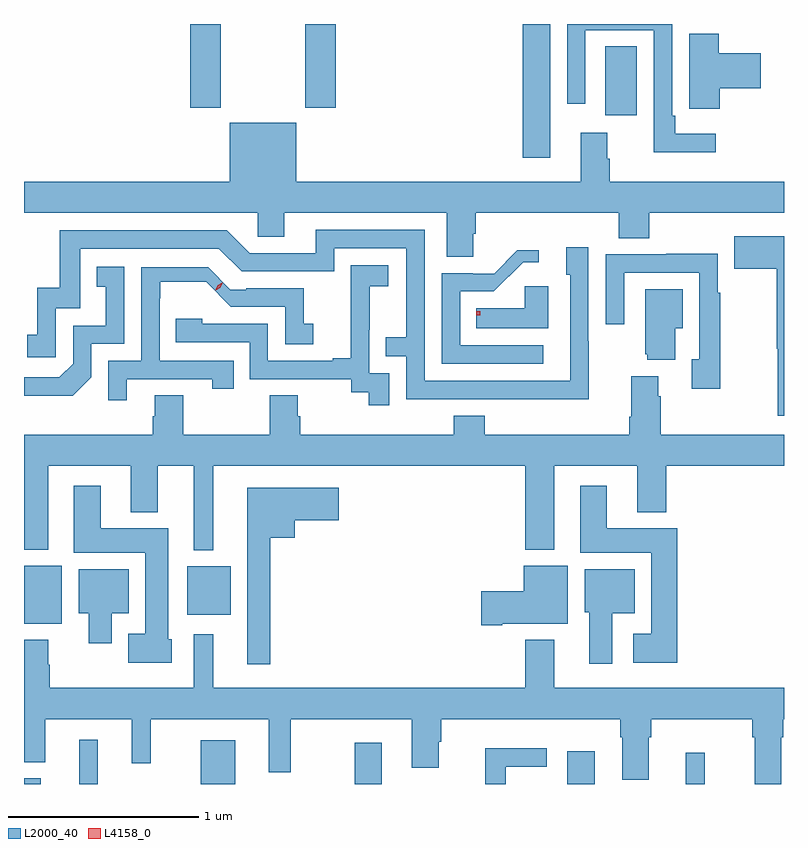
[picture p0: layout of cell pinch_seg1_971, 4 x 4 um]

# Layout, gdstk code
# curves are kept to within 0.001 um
import gdstk
lib = gdstk.Library(unit=1e-6, precision=1e-09)
def R(c, l, rs):  # rectangles x0, y0, x1, y1
    for r in rs: c.add(gdstk.rectangle(r[:2], r[2:], *l))
def P(c, l, *ps):  # polygons
    for p in ps: c.add(gdstk.Polygon(p, *l))
L2000_40 = (2000, 40)
L4158_0 = (4158, 0)

pinch_seg1_971 = lib.new_cell('pinch_seg1_971')
R(pinch_seg1_971, L2000_40, [(124.986,531.41,125.074,531.439), (125.277,531.41,125.374,531.643), (125.915,531.41,126.097,531.64), (126.727,531.41,126.868,531.628), (127.844,531.41,127.99,531.583), (128.468,531.41,128.57,531.574), (124.986,532.253,125.185,532.558), (125.846,532.301,126.073,532.555), (127.61,534.705,127.756,535.41), (128.045,534.93,128.212,535.292), (125.861,534.969,126.021,535.41), (126.466,534.969,126.626,535.41)])
P(pinch_seg1_971, L2000_40, [(128.626,534.832),(128.413,534.832),(128.413,534.928),(128.397,534.928),(128.397,535.41),(127.845,535.41),(127.845,534.99),(127.941,534.99),(127.941,535.377),(128.301,535.377),(128.301,534.734),(128.626,534.734)],
  [(128.648,535.073),(128.863,535.073),(128.863,535.256),(128.643,535.256),(128.643,535.359),(128.486,535.359),(128.486,535.075),(128.487,535.075),(128.487,534.963),(128.648,534.963)],
  [(126.068,534.889),(126.068,534.58),(124.986,534.58),(124.986,534.416),(126.216,534.416),(126.216,534.289),(126.355,534.289),(126.355,534.416),(127.211,534.416),(127.211,534.184),(127.351,534.184),(127.351,534.306),(127.364,534.306),(127.364,534.416),(128.117,534.416),(128.117,534.283),(128.277,534.283),(128.277,534.416),(128.986,534.416),(128.986,534.58),(128.069,534.58),(128.069,534.701),(128.056,534.701),(128.056,534.838),(127.916,534.838),(127.916,534.58),(126.418,534.58),(126.418,534.889)],
  [(127.959,533.741),(127.956,533.741),(127.956,534.235),(127.841,534.235),(127.841,534.09),(127.86,534.09),(127.86,533.532),(127.095,533.532),(127.095,534.327),(126.521,534.327),(126.521,534.204),(126.174,534.204),(126.054,534.324),(125.175,534.324),(125.175,534.022),(125.057,534.022),(125.057,533.775),(125.004,533.775),(125.004,533.655),(125.154,533.655),(125.154,533.913),(125.283,533.913),(125.283,534.228),(126.012,534.228),(126.132,534.108),(126.618,534.108),(126.618,534.231),(126.999,534.231),(126.999,533.762),(126.889,533.762),(126.889,533.661),(126.999,533.661),(126.999,533.436),(127.959,533.435)],
  [(128.986,534.292),(128.724,534.292),(128.724,534.123),(128.947,534.123),(128.947,533.702),(128.954,533.702),(128.954,533.349),(128.986,533.349)],
  [(127.72,533.718),(127.281,533.718),(127.281,534.003),(127.459,534.003),(127.613,534.157),(127.696,534.157),(127.696,534.22),(127.583,534.22),(127.46,534.096),(127.347,534.096),(127.347,534.099),(127.185,534.099),(127.185,533.622),(127.72,533.622)],
  [(128.65,533.995),(128.637,533.995),(128.637,534.2),(128.365,534.2),(128.365,534.198),(128.049,534.198),(128.049,533.829),(128.145,533.829),(128.145,534.102),(128.541,534.102),(128.541,533.646),(128.501,533.646),(128.501,533.49),(128.65,533.49)],
  [(126.909,533.571),(126.804,533.571),(126.804,533.801),(126.806,533.801),(126.806,534.029),(126.904,534.029),(126.904,534.139),(126.706,534.139),(126.706,533.933),(126.707,533.933),(126.707,533.65),(126.611,533.65),(126.611,533.637),(126.27,533.637),(126.27,533.832),(125.925,533.832),(125.925,533.86),(125.785,533.86),(125.785,533.736),(126.174,533.736),(126.174,533.541),(126.708,533.541),(126.708,533.473),(126.801,533.473),(126.801,533.403),(126.909,533.403)],
  [(125.34,533.55),(125.34,533.727),(125.514,533.727),(125.514,534.133),(125.368,534.133),(125.368,534.027),(125.417,534.027),(125.417,533.823),(125.244,533.823),(125.244,533.622),(125.172,533.55),(124.986,533.55),(124.986,533.453),(125.242,533.453)],
  [(125.527,533.541),(125.978,533.541),(125.978,533.49),(126.089,533.49),(126.089,533.637),(125.7,533.637),(125.7,533.966),(125.703,533.966),(125.703,534.053),(125.944,534.053),(126.074,533.922),(126.36,533.922),(126.36,533.724),(126.508,533.724),(126.508,533.833),(126.459,533.833),(126.459,534.018),(126.157,534.018),(126.157,534.012),(126.072,534.012),(125.955,534.129),(125.604,534.129),(125.604,533.637),(125.43,533.637),(125.43,533.43),(125.527,533.43)],
  [(127.744,534.031),(127.622,534.031),(127.622,533.914),(127.366,533.914),(127.366,533.81),(127.744,533.81)],
  [(128.413,533.81),(128.452,533.81),(128.452,534.013),(128.255,534.013),(128.255,533.673),(128.267,533.673),(128.267,533.642),(128.413,533.642)],
  [(125.983,533.084),(127.625,533.084),(127.625,532.643),(127.777,532.643),(127.777,533.084),(128.213,533.084),(128.213,532.841),(128.366,532.841),(128.366,533.084),(128.986,533.084),(128.986,533.248),(128.336,533.248),(128.336,533.45),(128.323,533.45),(128.323,533.557),(128.183,533.557),(128.183,533.344),(128.171,533.344),(128.171,533.248),(127.412,533.248),(127.412,533.347),(127.247,533.347),(127.247,533.248),(126.44,533.248),(126.44,533.346),(126.427,533.346),(126.427,533.456),(126.28,533.456),(126.28,533.248),(125.823,533.248),(125.823,533.456),(125.675,533.456),(125.675,533.346),(125.663,533.346),(125.663,533.248),(124.986,533.248),(124.986,532.643),(125.113,532.643),(125.113,533.084),(125.549,533.084),(125.549,532.841),(125.689,532.841),(125.689,533.084),(125.879,533.084),(125.879,532.64),(125.983,532.64)],
  [(125.764,532.173),(125.746,532.173),(125.746,532.756),(125.389,532.756),(125.389,532.981),(125.249,532.981),(125.249,532.628),(125.624,532.628),(125.624,532.201),(125.534,532.201),(125.534,532.049),(125.764,532.049)],
  [(128.423,532.756),(128.053,532.756),(128.053,532.981),(127.913,532.981),(127.913,532.628),(128.288,532.628),(128.288,532.201),(128.193,532.201),(128.193,532.049),(128.423,532.049)],
  [(126.283,532.706),(126.412,532.706),(126.412,532.799),(126.643,532.799),(126.643,532.969),(126.161,532.969),(126.161,532.041),(126.283,532.041)],
  [(127.504,532.253),(127.849,532.253),(127.849,532.558),(127.616,532.558),(127.616,532.424),(127.392,532.424),(127.392,532.246),(127.504,532.246)],
  [(125.449,532.31),(125.536,532.31),(125.536,532.54),(125.273,532.54),(125.273,532.31),(125.327,532.31),(125.327,532.152),(125.449,532.152)],
  [(128.083,532.31),(128.2,532.31),(128.2,532.54),(127.937,532.54),(127.937,532.314),(127.961,532.314),(127.961,532.044),(128.083,532.044)],
  [(128.971,531.656),(128.983,531.656),(128.983,531.752),(128.986,531.752),(128.986,531.916),(127.777,531.916),(127.777,532.168),(127.625,532.168),(127.625,531.916),(125.983,531.916),(125.983,532.198),(125.879,532.198),(125.879,531.916),(125.121,531.916),(125.121,532.037),(125.113,532.037),(125.113,532.168),(124.986,532.168),(124.986,531.524),(125.099,531.524),(125.099,531.752),(125.552,531.752),(125.552,531.519),(125.654,531.519),(125.654,531.752),(126.275,531.752),(126.275,531.471),(126.389,531.471),(126.389,531.752),(127.028,531.752),(127.028,531.495),(127.168,531.495),(127.168,531.632),(127.181,531.632),(127.181,531.752),(128.123,531.752),(128.123,531.656),(128.135,531.656),(128.135,531.432),(128.275,531.432),(128.275,531.656),(128.288,531.656),(128.288,531.752),(128.819,531.752),(128.819,531.656),(128.831,531.656),(128.831,531.41),(128.971,531.41)],
  [(127.522,531.5),(127.738,531.5),(127.738,531.598),(127.413,531.598),(127.413,531.41),(127.522,531.41)])
R(pinch_seg1_971, L4158_0, [(127.366,533.878,127.386,533.898)])
P(pinch_seg1_971, L4158_0, [(125.993,534.008),(125.993,534.009),(126.005,534.036),(126.03,534.049),(126.031,534.049),(126.031,534.049),(126.019,534.022),(125.994,534.008)])

lib.write_gds('pinch_seg1_971.gds')
